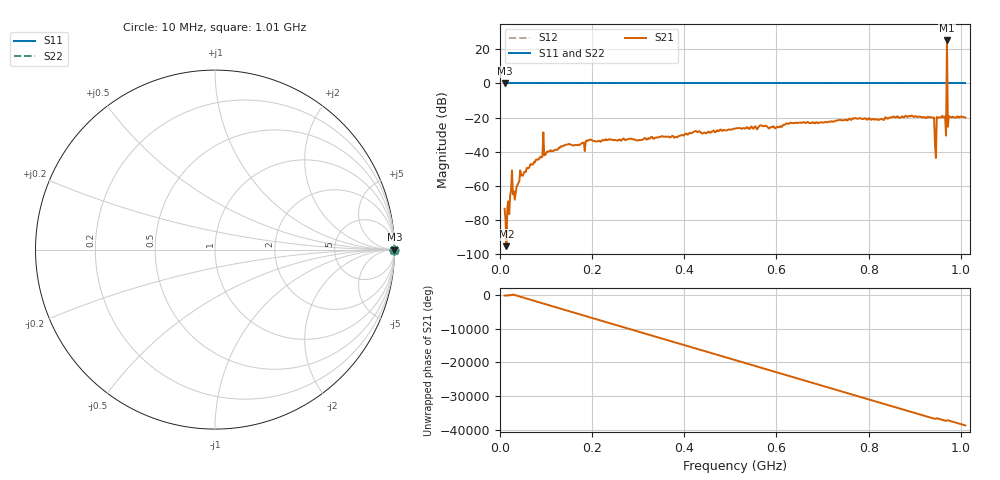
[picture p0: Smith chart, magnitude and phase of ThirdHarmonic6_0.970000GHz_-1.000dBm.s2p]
! 8/16/2025 7:20:55 AM
! C:\ANRITSUVNA\TEMP\TEMP.S2P
! CHANNEL.1
! TR.MEASUREMENT
! RAW.DATA
! RF.CORRECTION.OFF
! AVERAGING.OFF
! IF.BANDWIDTH: 5KHZ
! SWEEPTYPE:  FREQ.SWEEP(Linear)
! Reference Plane Port Info
! PORT:  PORT1  PORT2
! DISTANCE:  0  m  0  m
! TIME:  0  s  0  s
! PHASE.OFFSET:  0  deg.  0  deg.
! LOSS:  0  dB  0  dB
! REF.LOSS:  0  dB  0  dB
! REF.FREQ:  0  Hz  0  Hz
! Power Info
! POWER:  -20  dBm  -20  dBm
! EFF.POWER:  -20  dBm  -20  dBm
! SOURCE.ATTEN:  0  dB  0  dB
! TEST.ATTEN:  0  dB  0  dB
# GHZ S RI R 50.0
! FREQ.GHZ  S11RE  S11IM  S21RE  S21IM  S12RE  S12IM  S22RE  S22IM
!; PortSelection: Port_12
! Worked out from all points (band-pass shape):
!   501 points, 10 MHz to 1.01 GHz, reference 50 ohm
!   highest |S21| = 25.17 dB at 970 MHz (marker M1); lowest = -95.4 dB at 14 MHz (marker M2)
!   |S21| within 3 dB of the highest: 969.8924 MHz to 970.1186 MHz (226.2 kHz wide, 0.0233 % of centre)
!   lowest |S11| = 0.0 dB at 10 MHz (marker M3)
!   |S11| at or under -10 dB: nowhere
!   |S22| runs from 0.0 to 0.0 dB; largest |S21 - S12| = 19
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0.01  1 0  -0.000207 -4.34e-05  1 0  1 0
0.014  1 0  -7.4e-06 -1.53e-05  1 0  1 0
0.016  1 0  -0.000152 -0.000178  1 0  1 0
0.026  1 0  0.00218 -0.00181  1 0  1 0
0.032  1 0  0.000391 -3.03e-05  1 0  1 0
0.048  1 0  0.000871 0.00186  1 0  1 0
0.09  1 0  -0.00573 0.00351  1 0  1 0
0.178  1 0  -0.0181 7e-07  1 0  1 0
0.344  1 0  0.0247 -0.00886  1 0  1 0
0.51  1 0  -0.0411 0.0232  1 0  1 0
0.678  1 0  -0.0534 -0.0498  1 0  1 0
0.844  1 0  0.0969 0.0154  1 0  1 0
0.938  1 0  -0.0955 0.0259  1 0  1 0
0.942  1 0  0.0996 0.00877  1 0  1 0
0.948  1 0  -0.0518 0.0904  1 0  1 0
0.952  1 0  0.0798 -0.0608  1 0  1 0
0.964  1 0  -0.0979 -0.0349  1 0  1 0
0.966  1 0  -0.0501 0.0946  1 0  1 0
0.97  1 0  -15.18 -9.934  1 0  1 0
0.974  1 0  -0.0968 0.0553  1 0  1 0
0.976  1 0  0.037 0.0976  1 0  1 0
1.01  1 0  -0.0745 0.0663  1 0  1 0
